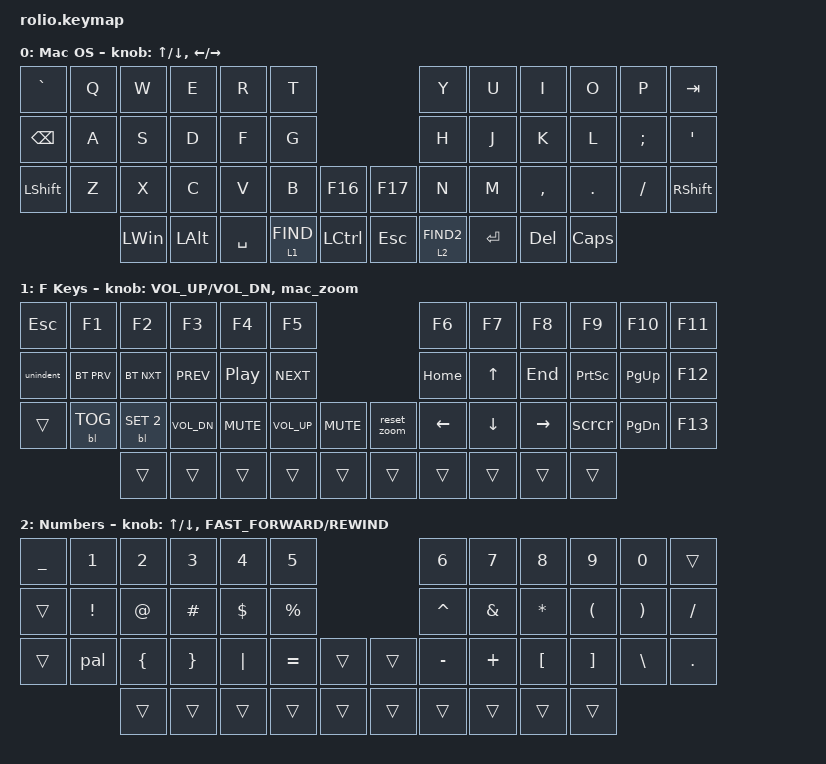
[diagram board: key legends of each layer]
/*
 * Copyright (c) 2020 The ZMK Contributors
 *
 * SPDX-License-Identifier: MIT
 */

#include <behaviors.dtsi>
#include <dt-bindings/zmk/backlight.h>
#include <dt-bindings/zmk/bt.h>
#include <dt-bindings/zmk/keys.h>

#define MACOS     0
#define FKEYS     1
#define NUMBERS   2
#define WINDOWS   3
#define W_FKEYS   4
#define W_NUMBERS 5
#define MATHS     6
#define KB_CONFIG 7

/ {
    conditional_layers {
        compatible = "zmk,conditional-layers";

        win_fkeys {
            if-layers = <3 1>;
            then-layer = <3>;
        };

        win_numbers {
            if-layers = <3 2>;
            then-layer = <3>;
        };
    };

    behaviors {
        // Toggle F-Keys Layer

        td0: tap_dance_0 {
            compatible = "zmk,behavior-tap-dance";
            label = "TAP_DANCE_0";
            #binding-cells = <0>;
            tapping-term-ms = <300>;
            bindings = <&mo 1>, <&tog 1>, <&tog 0>;
        };

        // Toggle Numbers layer

        td1: tap_dance_1 {
            compatible = "zmk,behavior-tap-dance";
            label = "TAP_DANCE_1";
            #binding-cells = <0>;
            tapping-term-ms = <300>;
            bindings = <&mo 2>, <&tog 0>, <&tog 2>;
        };

        // Toggle capsword left

        td2: tap_dance_2 {
            compatible = "zmk,behavior-tap-dance";
            label = "TAP_DANCE_2";
            #binding-cells = <0>;
            tapping-term-ms = <200>;
            bindings = <&kp LSHFT>, <&caps_word>;
        };

        // Toggle capsword right

        td3: tap_dance_3 {
            compatible = "zmk,behavior-tap-dance";
            label = "TAP_DANCE_3";
            #binding-cells = <0>;
            tapping-term-ms = <200>;
            bindings = <&kp RSHFT>, <&caps_word>;
        };

        // Toggle Windows layer

        td4: tap_dance_4 {
            compatible = "zmk,behavior-tap-dance";
            label = "TAP_DANCE_4";
            #binding-cells = <0>;
            tapping-term-ms = <200>;
            bindings = <&kp LGUI>, <&tog 0>;
        };

        // Toggle Windows layer

        td5: tap_dance_5 {
            compatible = "zmk,behavior-tap-dance";
            label = "TAP_DANCE_5";
            #binding-cells = <0>;
            tapping-term-ms = <200>;
            bindings = <&kp RGUI>, <&tog 0>;
        };

        // Backspace a whole word when holding backspace

        backspace_word: backspace_word {
            compatible = "zmk,behavior-hold-tap";
            label = "BACKSPACE_WORD";
            #binding-cells = <2>;
            tapping_term_ms = <135>;
            quick_tap_ms = <0>;
            flavor = "tap-preferred";
            bindings = <&bsp_word>, <&kp>;
        };

        w_backspace_word: w_backspace_word {
            compatible = "zmk,behavior-hold-tap";
            label = "WINDOWS_BACKSPACE_WORD";
            #binding-cells = <2>;
            tapping_term_ms = <135>;
            quick_tap_ms = <0>;
            flavor = "tap-preferred";
            bindings = <&w_bsp_word>, <&kp>;
        };

        //Mac OS Zoom

        mac_zoom: mac_zoom {
            compatible = "zmk,behavior-sensor-rotate";
            label = "MAC_ZOOM";
            #sensor-binding-cells = <0>;
            bindings = <&zoom_in>, <&zoom_out>;
        };

        //Windows OS Zoom

        win_zoom: win_zoom {
            compatible = "zmk,behavior-sensor-rotate";
            label = "WINDOWS_ZOOM";
            #sensor-binding-cells = <0>;
            bindings = <&w_zoom_in>, <&w_zoom_out>;
        };
    };

    macros {
        unindent: unindent {
            label = "UNINDENT";
            compatible = "zmk,behavior-macro";
            #binding-cells = <0>;
            bindings =
                <&macro_press>,
                <&kp LSHIFT>,
                <&macro_tap>,
                <&kp TAB>,
                <&macro_release>,
                <&kp LSHIFT>;
        };

        lstart: lstart {
            label = "Line_Start";
            compatible = "zmk,behavior-macro";
            #binding-cells = <0>;
            bindings =
                <&macro_press>,
                <&kp LGUI>,
                <&macro_tap>,
                <&kp LEFT>,
                <&macro_release>,
                <&kp LGUI>;
        };

        lend: lend {
            label = "Line_End";
            compatible = "zmk,behavior-macro";
            #binding-cells = <0>;
            bindings =
                <&macro_press>,
                <&kp LGUI>,
                <&macro_tap>,
                <&kp RIGHT>,
                <&macro_release>,
                <&kp LGUI>;
        };

        scrsh: scrsh {
            label = "Screenshot";
            compatible = "zmk,behavior-macro";
            #binding-cells = <0>;
            bindings =
                <&macro_press>,
                <&kp LGUI>,
                <&macro_press>,
                <&kp LSHIFT>,
                <&macro_tap>,
                <&kp N3>,
                <&macro_release>,
                <&kp LSHFT>,
                <&macro_release>,
                <&kp LGUI>;
        };

        scrcr: scrcr {
            label = "Screen_Crop";
            compatible = "zmk,behavior-macro";
            #binding-cells = <0>;
            bindings =
                <&macro_press>,
                <&kp LGUI>,
                <&macro_press>,
                <&kp LSHIFT>,
                <&macro_tap>,
                <&kp N4>,
                <&macro_release>,
                <&kp LSHFT>,
                <&macro_release>,
                <&kp LGUI>;
        };

        wscrcr: wscrcr {
            label = "Windows_Screen_Crop";
            compatible = "zmk,behavior-macro";
            #binding-cells = <0>;
            bindings =
                <&macro_press>,
                <&kp LGUI>,
                <&macro_press>,
                <&kp LSHIFT>,
                <&macro_tap>,
                <&kp S>,
                <&macro_release>,
                <&kp LSHFT>,
                <&macro_release>,
                <&kp LGUI>;
        };

        pal: pal {
            label = "Pallette";
            compatible = "zmk,behavior-macro";
            #binding-cells = <0>;
            bindings =
                <&macro_press>,
                <&kp LGUI>,
                <&macro_press>,
                <&kp LCTRL>,
                <&macro_tap>,
                <&kp SPACE>,
                <&macro_release>,
                <&kp LCTRL>,
                <&macro_release>,
                <&kp LGUI>;
        };

        wpal: wpal {
            label = "W_Pallette";
            compatible = "zmk,behavior-macro";
            #binding-cells = <0>;
            bindings =
                <&macro_press>,
                <&kp LGUI>,
                <&macro_tap>,
                <&kp DOT>,
                <&macro_release>,
                <&kp LGUI>;
        };

        // Word backspace macros

        bsp_word: bsp_word {
            label = "BSP_WORD";
            compatible = "zmk,behavior-macro";
            #binding-cells = <0>;
            bindings =
                <&macro_press>,
                <&kp LALT>,
                <&macro_tap>,
                <&kp BSPC>,
                <&macro_release>,
                <&kp LALT>;
        };

        w_bsp_word: w_bsp_word {
            label = "W_BSP_WORD";
            compatible = "zmk,behavior-macro";
            #binding-cells = <0>;
            bindings =
                <&macro_press>,
                <&kp LCTRL>,
                <&macro_tap>,
                <&kp BSPC>,
                <&macro_release>,
                <&kp LCTRL>;
        };

        // Zoom macros

        zoom_in: zoom_in {
            label = "ZOOM_IN";
            compatible = "zmk,behavior-macro";
            #binding-cells = <0>;
            bindings =
                <&macro_press>,
                <&kp LGUI>,
                <&macro_tap>,
                <&kp EQUAL>,
                <&macro_release>,
                <&kp LGUI>;
        };

        zoom_out: zoom_out {
            label = "ZOOM_OUT";
            compatible = "zmk,behavior-macro";
            #binding-cells = <0>;
            bindings =
                <&macro_press>,
                <&kp LGUI>,
                <&macro_tap>,
                <&kp MINUS>,
                <&macro_release>,
                <&kp LGUI>;
        };

        reset_zoom: reset_zoom {
            label = "RESET_ZOOM";
            compatible = "zmk,behavior-macro";
            #binding-cells = <0>;
            bindings =
                <&macro_press>,
                <&kp LGUI>,
                <&macro_tap>,
                <&kp N0>,
                <&macro_release>,
                <&kp LGUI>;
        };

        w_zoom_in: w_zoom_in {
            label = "WINDOWS_ZOOM_IN";
            compatible = "zmk,behavior-macro";
            #binding-cells = <0>;
            bindings =
                <&macro_press>,
                <&kp LCTRL>,
                <&macro_tap>,
                <&kp EQUAL>,
                <&macro_release>,
                <&kp LCTRL>;
        };

        w_zoom_out: w_zoom_out {
            label = "WINDOWS_ZOOM_OUT";
            compatible = "zmk,behavior-macro";
            #binding-cells = <0>;
            bindings =
                <&macro_press>,
                <&kp LCTRL>,
                <&macro_tap>,
                <&kp MINUS>,
                <&macro_release>,
                <&kp LCTRL>;
        };

        w_reset_zoom: w_reset_zoom {
            label = "WINDOWS_RESET_ZOOM";
            compatible = "zmk,behavior-macro";
            #binding-cells = <0>;
            bindings =
                <&macro_press>,
                <&kp LCTRL>,
                <&macro_tap>,
                <&kp N0>,
                <&macro_release>,
                <&kp LCTRL>;
        };
    };

    keymap {
        compatible = "zmk,keymap";

        default_layer {
            label = "Mac OS";
            sensor-bindings = <&inc_dec_kp UP DOWN &inc_dec_kp LEFT RIGHT>;
            bindings = <
&kp GRAVE       &kp Q  &kp W         &kp E         &kp R      &kp T                                &kp Y          &kp U      &kp I      &kp O     &kp P     &kp TAB
&kp BACKSPACE   &kp A  &kp S         &kp D         &kp F      &kp G                                &kp H          &kp J      &kp K      &kp L     &kp SEMI  &kp SQT
&kp LEFT_SHIFT  &kp Z  &kp X         &kp C         &kp V      &kp B         &kp F16    &kp F17     &kp N          &kp M      &kp COMMA  &kp DOT   &kp FSLH  &kp RIGHT_SHIFT
                       &kp LEFT_WIN  &kp LEFT_ALT  &kp SPACE  &lt 1 K_FIND  &kp LCTRL  &kp ESCAPE  &lt 2 K_FIND2  &kp ENTER  &kp DEL    &kp CAPS
            >;
        };

        f_keys_layer {
            label = "F Keys";
            sensor-bindings = <&inc_dec_kp C_VOL_UP C_VOL_DN &mac_zoom>;
            bindings = <
&kp ESCAPE  &kp F1      &kp F2        &kp F3        &kp F4      &kp F5                                 &kp F6    &kp F7    &kp F8     &kp F9     &kp F10    &kp F11
&unindent   &bt BT_PRV  &bt BT_NXT    &kp C_PREV    &kp C_PP    &kp C_NEXT                             &kp HOME  &kp UP    &kp END    &kp PSCRN  &kp PG_UP  &kp F12
&trans      &bl BL_TOG  &bl BL_SET 2  &kp C_VOL_DN  &kp C_MUTE  &kp C_VOL_UP  &kp C_MUTE  &reset_zoom  &kp LEFT  &kp DOWN  &kp RIGHT  &scrcr     &kp PG_DN  &kp F13
                        &trans        &trans        &trans      &trans        &trans      &trans       &trans    &trans    &trans     &trans
            >;
        };

        numbers_layer {
            label = "Numbers";
            sensor-bindings =
                <&inc_dec_kp UP DOWN>,
                <&inc_dec_kp C_FAST_FORWARD C_REWIND>;

            bindings = <
&kp UNDER  &kp N1    &kp N2          &kp N3           &kp N4    &kp N5                     &kp N6     &kp N7         &kp N8    &kp N9    &kp N0         &trans
&trans     &kp EXCL  &kp AT          &kp HASH         &kp DLLR  &kp PRCNT                  &kp CARET  &kp AMPERSAND  &kp STAR  &kp LPAR  &kp RPAR       &kp FSLH
&trans     &pal      &kp LEFT_BRACE  &kp RIGHT_BRACE  &kp PIPE  &kp EQUAL  &trans  &trans  &kp MINUS  &kp PLUS       &kp LBKT  &kp RBKT  &kp BACKSLASH  &kp DOT
                     &trans          &trans           &trans    &trans     &trans  &trans  &trans     &trans         &trans    &trans
            >;
        };
    };
};
